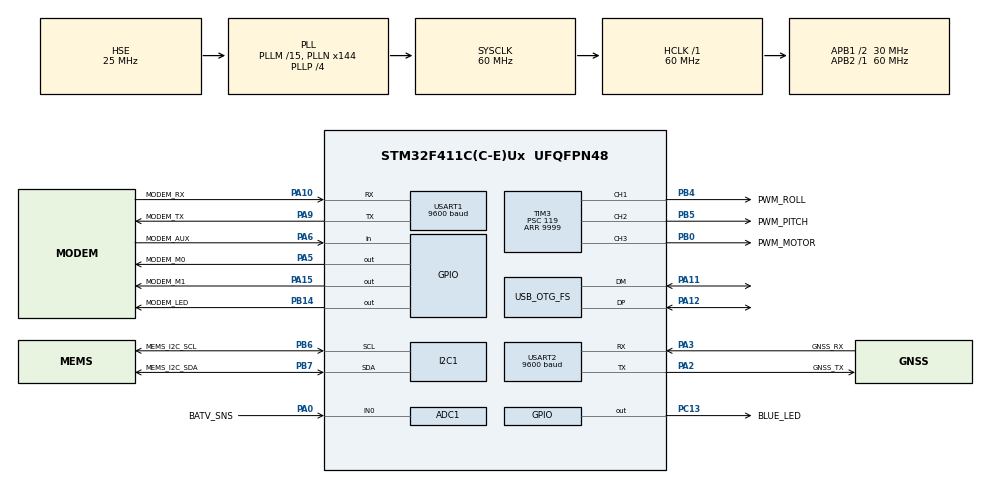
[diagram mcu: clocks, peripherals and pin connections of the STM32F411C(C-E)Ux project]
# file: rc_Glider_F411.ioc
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ADC1.Channel-0\#ChannelRegularConversion=ADC_CHANNEL_0
ADC1.ContinuousConvMode=DISABLE
ADC1.NbrOfConversion=1
ADC1.NbrOfConversionFlag=1
ADC1.Rank-0\#ChannelRegularConversion=1
ADC1.SamplingTime-0\#ChannelRegularConversion=ADC_SAMPLETIME_3CYCLES
ADC1.master=1
Mcu.Family=STM32F4
Mcu.Name=STM32F411C(C-E)Ux
Mcu.Package=UFQFPN48
NVIC.ADC_IRQn=true\:0\:0\:false\:false\:true\:true\:true\:true
NVIC.OTG_FS_IRQn=true\:0\:0\:false\:false\:true\:true\:true\:true
NVIC.PriorityGroup=NVIC_PRIORITYGROUP_4
NVIC.TIM4_IRQn=true\:15\:0\:false\:false\:true\:false\:true\:true
NVIC.TimeBase=TIM4_IRQn
NVIC.TimeBaseIP=TIM4
NVIC.USART1_IRQn=true\:0\:0\:false\:false\:true\:true\:true\:true
PA0-WKUP.GPIO_Label=BATV_SNS
PA0-WKUP.Signal=ADCx_IN0
PA10.GPIO_Label=MODEM_RX
PA10.Mode=Asynchronous
PA10.Signal=USART1_RX
PA11.Mode=Device_Only
PA11.Signal=USB_OTG_FS_DM
PA12.Mode=Device_Only
PA12.Signal=USB_OTG_FS_DP
PA15.GPIO_Label=MODEM_M1
PA15.GPIO_PuPd=GPIO_PULLUP
PA15.PinState=GPIO_PIN_SET
PA15.Signal=GPIO_Output
PA2.GPIO_Label=GNSS_TX
PA2.Mode=Asynchronous
PA2.Signal=USART2_TX
PA3.GPIO_Label=GNSS_RX
PA3.Mode=Asynchronous
PA3.Signal=USART2_RX
PA5.GPIO_Label=MODEM_M0
PA5.GPIO_PuPd=GPIO_PULLUP
PA5.Signal=GPIO_Output
PA6.GPIO_Label=MODEM_AUX
PA6.Signal=GPIO_Input
PA9.GPIO_Label=MODEM_TX
PA9.Mode=Asynchronous
PA9.Signal=USART1_TX
PB0.GPIO_Label=PWM_MOTOR
PB0.Signal=S_TIM3_CH3
PB14.GPIO_Label=MODEM_LED
PB14.Signal=GPIO_Output
PB4.GPIO_Label=PWM_ROLL
PB4.Signal=S_TIM3_CH1
PB5.GPIO_Label=PWM_PITCH
PB5.Signal=S_TIM3_CH2
PB6.GPIO_Label=MEMS_I2C_SCL
PB6.GPIO_Pu=GPIO_PULLUP
PB6.Mode=I2C
PB6.Signal=I2C1_SCL
PB7.GPIO_Label=MEMS_I2C_SDA
PB7.GPIO_Pu=GPIO_PULLUP
PB7.Mode=I2C
PB7.Signal=I2C1_SDA
PC13-ANTI_TAMP.GPIO_Label=BLUE_LED
PC13-ANTI_TAMP.Signal=GPIO_Output
PH0\ -\ OSC_IN.Mode=HSE-External-Oscillator
PH0\ -\ OSC_IN.Signal=RCC_OSC_IN
PH1\ -\ OSC_OUT.Mode=HSE-External-Oscillator
PH1\ -\ OSC_OUT.Signal=RCC_OSC_OUT
ProjectManager.HeapSize=0x200
ProjectManager.StackSize=0x400
ProjectManager.TargetToolchain=STM32CubeIDE
RCC.48MHZClocksFreq_Value=48000000
RCC.AHBFreq_Value=60000000
RCC.APB1CLKDivider=RCC_HCLK_DIV2
RCC.APB1Freq_Value=30000000
RCC.APB1TimFreq_Value=60000000
RCC.APB2Freq_Value=60000000
RCC.APB2TimFreq_Value=60000000
RCC.CortexFreq_Value=60000000
RCC.HCLKFreq_Value=60000000
RCC.HSE_VALUE=25000000
RCC.HSI_VALUE=16000000
RCC.LSE_VALUE=32768
RCC.PLLM=15
RCC.PLLN=144
RCC.PLLP=RCC_PLLP_DIV4
RCC.PLLQ=5
RCC.SYSCLKFreq_VALUE=60000000
RCC.SYSCLKSource=RCC_SYSCLKSOURCE_PLLCLK
RCC.VCOOutputFreq_Value=240000000
SH.ADCx_IN0.0=ADC1_IN0,IN0
SH.S_TIM3_CH1.0=TIM3_CH1,PWM Generation1 CH1
SH.S_TIM3_CH2.0=TIM3_CH2,PWM Generation2 CH2
SH.S_TIM3_CH3.0=TIM3_CH3,PWM Generation3 CH3
TIM3.Channel-PWM\ Generation1\ CH1=TIM_CHANNEL_1
TIM3.Channel-PWM\ Generation2\ CH2=TIM_CHANNEL_2
TIM3.Channel-PWM\ Generation3\ CH3=TIM_CHANNEL_3
TIM3.Period=9999
TIM3.Prescaler=119
TIM3.Pulse-PWM\ Generation1\ CH1=0
TIM3.Pulse-PWM\ Generation2\ CH2=0
TIM3.Pulse-PWM\ Generation3\ CH3=0
USART1.BaudRate=9600
USART1.VirtualMode=VM_ASYNC
USART2.BaudRate=9600
USART2.VirtualMode=VM_ASYNC
USB_DEVICE.CLASS_NAME_FS=CDC
USB_DEVICE.VirtualMode=Cdc
USB_DEVICE.VirtualModeFS=Cdc_FS
USB_OTG_FS.VirtualMode=Device_Only
VP_SYS_VS_tim4.Mode=TIM4
VP_USB_DEVICE_VS_USB_DEVICE_CDC_FS.Mode=CDC_FS
board=custom

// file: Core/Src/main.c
/* USER CODE BEGIN Header */
/**
  ******************************************************************************
  * @file           : main.c
  * @brief          : Main program body
  ******************************************************************************
  * @attention
  *
  * Copyright (c) 2023 STMicroelectronics.
  * All rights reserved.
  *
  * This software is licensed under terms that can be found in the LICENSE file
  * in the root directory of this software component.
  * If no LICENSE file comes with this software, it is provided AS-IS.
  *
  ******************************************************************************
  */
/* USER CODE END Header */
#include "main.h"
#include "usb_device.h"

/* USER CODE BEGIN Includes */
#include "../config.h"
#include <stdio.h>
#include <string.h>
#include <stdarg.h>
#include "system/system.h"
#include "usbd_cdc_if.h"
/* USER CODE END Includes */

ADC_HandleTypeDef hadc1;

I2C_HandleTypeDef hi2c1;

TIM_HandleTypeDef htim3;

UART_HandleTypeDef huart1;
UART_HandleTypeDef huart2;

void SystemClock_Config(void);
static void MX_GPIO_Init(void);
static void MX_I2C1_Init(void);
static void MX_USART1_UART_Init(void);
static void MX_USART2_UART_Init(void);
static void MX_TIM3_Init(void);
static void MX_ADC1_Init(void);

int main(void)
{

  /* MCU Configuration--------------------------------------------------------*/

  /* Reset of all peripherals, Initializes the Flash interface and the Systick. */
  HAL_Init();

  /* Configure the system clock */
  SystemClock_Config();

  /* Initialize all configured peripherals */
  MX_GPIO_Init();
  MX_I2C1_Init();
  MX_USART1_UART_Init();
  MX_USART2_UART_Init();
  MX_TIM3_Init();
  MX_ADC1_Init();
  MX_USB_DEVICE_Init();
  /* USER CODE BEGIN 2 */
  system_Init();
  /* USER CODE END 2 */

  /* Infinite loop */
  while (1)
  {

    /* USER CODE BEGIN 3 */
	  system_Task();
  }
  /* USER CODE END 3 */
}

void SystemClock_Config(void)
{
  RCC_OscInitTypeDef RCC_OscInitStruct = {0};
  RCC_ClkInitTypeDef RCC_ClkInitStruct = {0};

  /** Configure the main internal regulator output voltage
  */
  __HAL_RCC_PWR_CLK_ENABLE();
  __HAL_PWR_VOLTAGESCALING_CONFIG(PWR_REGULATOR_VOLTAGE_SCALE1);

  /** Initializes the RCC Oscillators according to the specified parameters
  * in the RCC_OscInitTypeDef structure.
  */
  RCC_OscInitStruct.OscillatorType = RCC_OSCILLATORTYPE_HSE;
  RCC_OscInitStruct.HSEState = RCC_HSE_ON;
  RCC_OscInitStruct.PLL.PLLState = RCC_PLL_ON;
  RCC_OscInitStruct.PLL.PLLSource = RCC_PLLSOURCE_HSE;
  RCC_OscInitStruct.PLL.PLLM = 15;
  RCC_OscInitStruct.PLL.PLLN = 144;
  RCC_OscInitStruct.PLL.PLLP = RCC_PLLP_DIV4;
  RCC_OscInitStruct.PLL.PLLQ = 5;
  if (HAL_RCC_OscConfig(&RCC_OscInitStruct) != HAL_OK)
  {
    Error_Handler();
  }

  /** Initializes the CPU, AHB and APB buses clocks
  */
  RCC_ClkInitStruct.ClockType = RCC_CLOCKTYPE_HCLK|RCC_CLOCKTYPE_SYSCLK
                              |RCC_CLOCKTYPE_PCLK1|RCC_CLOCKTYPE_PCLK2;
  RCC_ClkInitStruct.SYSCLKSource = RCC_SYSCLKSOURCE_PLLCLK;
  RCC_ClkInitStruct.AHBCLKDivider = RCC_SYSCLK_DIV1;
  RCC_ClkInitStruct.APB1CLKDivider = RCC_HCLK_DIV2;
  RCC_ClkInitStruct.APB2CLKDivider = RCC_HCLK_DIV1;

  if (HAL_RCC_ClockConfig(&RCC_ClkInitStruct, FLASH_LATENCY_1) != HAL_OK)
  {
    Error_Handler();
  }
}

static void MX_ADC1_Init(void)
{

  ADC_ChannelConfTypeDef sConfig = {0};

  /** Configure the global features of the ADC (Clock, Resolution, Data Alignment and number of conversion)
  */
  hadc1.Instance = ADC1;
  hadc1.Init.ClockPrescaler = ADC_CLOCK_SYNC_PCLK_DIV2;
  hadc1.Init.Resolution = ADC_RESOLUTION_12B;
  hadc1.Init.ScanConvMode = DISABLE;
  hadc1.Init.ContinuousConvMode = DISABLE;
  hadc1.Init.DiscontinuousConvMode = DISABLE;
  hadc1.Init.ExternalTrigConvEdge = ADC_EXTERNALTRIGCONVEDGE_NONE;
  hadc1.Init.ExternalTrigConv = ADC_SOFTWARE_START;
  hadc1.Init.DataAlign = ADC_DATAALIGN_RIGHT;
  hadc1.Init.NbrOfConversion = 1;
  hadc1.Init.DMAContinuousRequests = DISABLE;
  hadc1.Init.EOCSelection = ADC_EOC_SINGLE_CONV;
  if (HAL_ADC_Init(&hadc1) != HAL_OK)
  {
    Error_Handler();
  }

  /** Configure for the selected ADC regular channel its corresponding rank in the sequencer and its sample time.
  */
  sConfig.Channel = ADC_CHANNEL_0;
  sConfig.Rank = 1;
  sConfig.SamplingTime = ADC_SAMPLETIME_3CYCLES;
  if (HAL_ADC_ConfigChannel(&hadc1, &sConfig) != HAL_OK)
  {
    Error_Handler();
  }

}

static void MX_I2C1_Init(void)
{

  hi2c1.Instance = I2C1;
  hi2c1.Init.ClockSpeed = 100000;
  hi2c1.Init.DutyCycle = I2C_DUTYCYCLE_2;
  hi2c1.Init.OwnAddress1 = 0;
  hi2c1.Init.AddressingMode = I2C_ADDRESSINGMODE_7BIT;
  hi2c1.Init.DualAddressMode = I2C_DUALADDRESS_DISABLE;
  hi2c1.Init.OwnAddress2 = 0;
  hi2c1.Init.GeneralCallMode = I2C_GENERALCALL_DISABLE;
  hi2c1.Init.NoStretchMode = I2C_NOSTRETCH_DISABLE;
  if (HAL_I2C_Init(&hi2c1) != HAL_OK)
  {
    Error_Handler();
  }

}

static void MX_TIM3_Init(void)
{

  TIM_MasterConfigTypeDef sMasterConfig = {0};
  TIM_OC_InitTypeDef sConfigOC = {0};

  htim3.Instance = TIM3;
  htim3.Init.Prescaler = 119;
  htim3.Init.CounterMode = TIM_COUNTERMODE_UP;
  htim3.Init.Period = 9999;
  htim3.Init.ClockDivision = TIM_CLOCKDIVISION_DIV1;
  htim3.Init.AutoReloadPreload = TIM_AUTORELOAD_PRELOAD_DISABLE;
  if (HAL_TIM_PWM_Init(&htim3) != HAL_OK)
  {
    Error_Handler();
  }
  sMasterConfig.MasterOutputTrigger = TIM_TRGO_RESET;
  sMasterConfig.MasterSlaveMode = TIM_MASTERSLAVEMODE_DISABLE;
  if (HAL_TIMEx_MasterConfigSynchronization(&htim3, &sMasterConfig) != HAL_OK)
  {
    Error_Handler();
  }
  sConfigOC.OCMode = TIM_OCMODE_PWM1;
  sConfigOC.Pulse = 0;
  sConfigOC.OCPolarity = TIM_OCPOLARITY_HIGH;
  sConfigOC.OCFastMode = TIM_OCFAST_DISABLE;
  if (HAL_TIM_PWM_ConfigChannel(&htim3, &sConfigOC, TIM_CHANNEL_1) != HAL_OK)
  {
    Error_Handler();
  }
  if (HAL_TIM_PWM_ConfigChannel(&htim3, &sConfigOC, TIM_CHANNEL_2) != HAL_OK)
  {
    Error_Handler();
  }
  if (HAL_TIM_PWM_ConfigChannel(&htim3, &sConfigOC, TIM_CHANNEL_3) != HAL_OK)
  {
    Error_Handler();
  }
  HAL_TIM_MspPostInit(&htim3);

}

static void MX_USART1_UART_Init(void)
{

  huart1.Instance = USART1;
  huart1.Init.BaudRate = 9600;
  huart1.Init.WordLength = UART_WORDLENGTH_8B;
  huart1.Init.StopBits = UART_STOPBITS_1;
  huart1.Init.Parity = UART_PARITY_NONE;
  huart1.Init.Mode = UART_MODE_TX_RX;
  huart1.Init.HwFlowCtl = UART_HWCONTROL_NONE;
  huart1.Init.OverSampling = UART_OVERSAMPLING_16;
  if (HAL_UART_Init(&huart1) != HAL_OK)
  {
    Error_Handler();
  }

}

static void MX_USART2_UART_Init(void)
{

  huart2.Instance = USART2;
  huart2.Init.BaudRate = 9600;
  huart2.Init.WordLength = UART_WORDLENGTH_8B;
  huart2.Init.StopBits = UART_STOPBITS_1;
  huart2.Init.Parity = UART_PARITY_NONE;
  huart2.Init.Mode = UART_MODE_TX_RX;
  huart2.Init.HwFlowCtl = UART_HWCONTROL_NONE;
  huart2.Init.OverSampling = UART_OVERSAMPLING_16;
  if (HAL_UART_Init(&huart2) != HAL_OK)
  {
    Error_Handler();
  }

}

static void MX_GPIO_Init(void)
{
  GPIO_InitTypeDef GPIO_InitStruct = {0};

  /* GPIO Ports Clock Enable */
  __HAL_RCC_GPIOC_CLK_ENABLE();
  __HAL_RCC_GPIOH_CLK_ENABLE();
  __HAL_RCC_GPIOA_CLK_ENABLE();
  __HAL_RCC_GPIOB_CLK_ENABLE();

  /*Configure GPIO pin Output Level */
  HAL_GPIO_WritePin(BLUE_LED_GPIO_Port, BLUE_LED_Pin, GPIO_PIN_RESET);

  /*Configure GPIO pin Output Level */
  HAL_GPIO_WritePin(MODEM_M0_GPIO_Port, MODEM_M0_Pin, GPIO_PIN_RESET);

  /*Configure GPIO pin Output Level */
  HAL_GPIO_WritePin(MODEM_LED_GPIO_Port, MODEM_LED_Pin, GPIO_PIN_RESET);

  /*Configure GPIO pin Output Level */
  HAL_GPIO_WritePin(MODEM_M1_GPIO_Port, MODEM_M1_Pin, GPIO_PIN_SET);

  /*Configure GPIO pin : BLUE_LED_Pin */
  GPIO_InitStruct.Pin = BLUE_LED_Pin;
  GPIO_InitStruct.Mode = GPIO_MODE_OUTPUT_PP;
  GPIO_InitStruct.Pull = GPIO_NOPULL;
  GPIO_InitStruct.Speed = GPIO_SPEED_FREQ_LOW;
  HAL_GPIO_Init(BLUE_LED_GPIO_Port, &GPIO_InitStruct);

  /*Configure GPIO pins : MODEM_M0_Pin MODEM_M1_Pin */
  GPIO_InitStruct.Pin = MODEM_M0_Pin|MODEM_M1_Pin;
  GPIO_InitStruct.Mode = GPIO_MODE_OUTPUT_PP;
  GPIO_InitStruct.Pull = GPIO_PULLUP;
  GPIO_InitStruct.Speed = GPIO_SPEED_FREQ_LOW;
  HAL_GPIO_Init(GPIOA, &GPIO_InitStruct);

  /*Configure GPIO pin : MODEM_AUX_Pin */
  GPIO_InitStruct.Pin = MODEM_AUX_Pin;
  GPIO_InitStruct.Mode = GPIO_MODE_INPUT;
  GPIO_InitStruct.Pull = GPIO_NOPULL;
  HAL_GPIO_Init(MODEM_AUX_GPIO_Port, &GPIO_InitStruct);

  /*Configure GPIO pin : MODEM_LED_Pin */
  GPIO_InitStruct.Pin = MODEM_LED_Pin;
  GPIO_InitStruct.Mode = GPIO_MODE_OUTPUT_PP;
  GPIO_InitStruct.Pull = GPIO_NOPULL;
  GPIO_InitStruct.Speed = GPIO_SPEED_FREQ_LOW;
  HAL_GPIO_Init(MODEM_LED_GPIO_Port, &GPIO_InitStruct);

}

/* USER CODE BEGIN 4 */
/**
  * @brief USART1 Initialization Function
  * @param None
  * @retval None
  */
void MX_USART1_UART_Init115200(void)
{
	huart1.Instance = USART1;
	huart1.Init.BaudRate = 115200;
	huart1.Init.WordLength = UART_WORDLENGTH_8B;
	huart1.Init.StopBits = UART_STOPBITS_1;
	huart1.Init.Parity = UART_PARITY_NONE;
	huart1.Init.Mode = UART_MODE_TX_RX;
	huart1.Init.HwFlowCtl = UART_HWCONTROL_NONE;
	huart1.Init.OverSampling = UART_OVERSAMPLING_16;
	if (HAL_UART_Init(&huart1) != HAL_OK)
	{
		Error_Handler();
	}
}
/**
  * @brief RX interrupt from the uart
  * @param None
  * @retval None
  */
void HAL_UART_RxCpltCallback(UART_HandleTypeDef *huart)
{
	system_UART_RxCpltCallback(huart);
}

void MX_UARTReInit()
{
	HAL_UART_DeInit(&huart1);
	MX_USART1_UART_Init();
	return;
}

void HAL_ADC_ConvCpltCallback(ADC_HandleTypeDef* hadc)
{
	system_ADC_ConvCpltCallback(hadc);
}

/* USER CODE END 4 */

void HAL_TIM_PeriodElapsedCallback(TIM_HandleTypeDef *htim)
{
  if (htim->Instance == TIM4) {
    HAL_IncTick();
  }
  /* USER CODE BEGIN Callback 1 */
  system_Timer(HAL_GetTick());
  /* USER CODE END Callback 1 */
}

void Error_Handler(void)
{
  __disable_irq();
  while (1)
  {
  }
}
